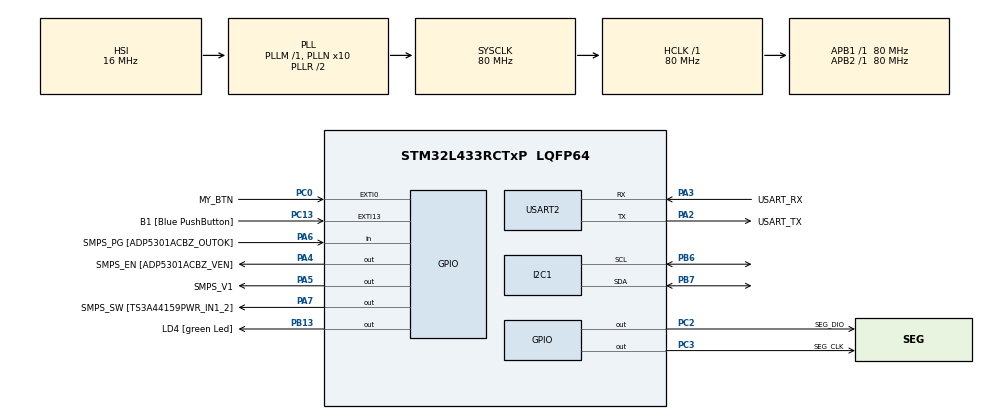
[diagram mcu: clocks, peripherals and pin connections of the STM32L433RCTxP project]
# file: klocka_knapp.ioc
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I2C1.Timing=0x10D19CE4
Mcu.Family=STM32L4
Mcu.Name=STM32L433RCTxP
Mcu.Package=LQFP64
NVIC.EXTI0_IRQn=true\:0\:0\:false\:false\:true\:true\:true\:true
NVIC.PriorityGroup=NVIC_PRIORITYGROUP_4
NVIC.TIM6_DAC_IRQn=true\:0\:0\:false\:false\:true\:true\:true\:true
PA13\ (JTMS-SWDIO).GPIO_Label=TMS
PA13\ (JTMS-SWDIO).Mode=Serial_Wire
PA13\ (JTMS-SWDIO).Signal=SYS_JTMS-SWDIO
PA14\ (JTCK-SWCLK).GPIO_Label=TCK
PA14\ (JTCK-SWCLK).Mode=Serial_Wire
PA14\ (JTCK-SWCLK).Signal=SYS_JTCK-SWCLK
PA2.GPIO_Label=USART_TX
PA2.GPIO_Mode=GPIO_MODE_AF_PP
PA2.GPIO_PuPd=GPIO_NOPULL
PA2.GPIO_Speed=GPIO_SPEED_FREQ_VERY_HIGH
PA2.Mode=Asynchronous
PA2.Signal=USART2_TX
PA3.GPIO_Label=USART_RX
PA3.GPIO_Mode=GPIO_MODE_AF_PP
PA3.GPIO_PuPd=GPIO_NOPULL
PA3.GPIO_Speed=GPIO_SPEED_FREQ_VERY_HIGH
PA3.Mode=Asynchronous
PA3.Signal=USART2_RX
PA4.GPIO_Label=SMPS_EN [ADP5301ACBZ_VEN]
PA4.Signal=GPIO_Output
PA5.GPIO_Label=SMPS_V1
PA5.GPIO_ModeDefaultOutputPP=GPIO_MODE_OUTPUT_PP
PA5.GPIO_PuPd=GPIO_NOPULL
PA5.GPIO_Speed=GPIO_SPEED_FREQ_LOW
PA5.Signal=GPIO_Output
PA6.GPIO_Label=SMPS_PG [ADP5301ACBZ_OUTOK]
PA6.GPIO_PuPd=GPIO_PULLUP
PA6.Signal=GPIO_Input
PA7.GPIO_Label=SMPS_SW [TS3A44159PWR_IN1_2]
PA7.Signal=GPIO_Output
PB13.GPIO_Label=LD4 [green Led]
PB13.Signal=GPIO_Output
PB3\ (JTDO-TRACESWO).GPIO_Label=SWO
PB3\ (JTDO-TRACESWO).Signal=SYS_JTDO-SWO
PB6.Mode=I2C
PB6.Signal=I2C1_SCL
PB7.Mode=I2C
PB7.Signal=I2C1_SDA
PC0.GPIO_Label=MY_BTN
PC0.GPIO_ModeDefaultEXTI=GPIO_MODE_IT_FALLING
PC0.Signal=GPXTI0
PC13.GPIO_Label=B1 [Blue PushButton]
PC13.GPIO_ModeDefaultEXTI=GPIO_MODE_IT_FALLING
PC13.GPIO_PuPd=GPIO_NOPULL
PC13.Signal=GPXTI13
PC14-OSC32_IN\ (PC14).Mode=LSE-External-Oscillator
PC14-OSC32_IN\ (PC14).Signal=RCC_OSC32_IN
PC15-OSC32_OUT\ (PC15).Mode=LSE-External-Oscillator
PC15-OSC32_OUT\ (PC15).Signal=RCC_OSC32_OUT
PC2.GPIO_Label=SEG_DIO
PC2.GPIO_ModeDefaultOutputPP=GPIO_MODE_OUTPUT_OD
PC2.GPIO_PuPd=GPIO_NOPULL
PC2.Signal=GPIO_Output
PC3.GPIO_Label=SEG_CLK
PC3.GPIO_ModeDefaultOutputPP=GPIO_MODE_OUTPUT_PP
PC3.Signal=GPIO_Output
PH0-OSC_IN\ (PH0).GPIO_Label=MCO
PH0-OSC_IN\ (PH0).Mode=HSE-External-Clock-Source
PH0-OSC_IN\ (PH0).Signal=RCC_OSC_IN
PH1-OSC_OUT\ (PH1).Signal=RCC_OSC_OUT
ProjectManager.HeapSize=0x200
ProjectManager.StackSize=0x400
ProjectManager.TargetToolchain=STM32CubeIDE
RCC.ADCFreq_Value=64000000
RCC.AHBFreq_Value=80000000
RCC.APB1Freq_Value=80000000
RCC.APB1TimFreq_Value=80000000
RCC.APB2Freq_Value=80000000
RCC.APB2TimFreq_Value=80000000
RCC.CortexFreq_Value=80000000
RCC.HCLKFreq_Value=80000000
RCC.HSE_VALUE=8000000
RCC.HSI48_VALUE=48000000
RCC.HSI_VALUE=16000000
RCC.MSI_VALUE=4000000
RCC.PLLN=10
RCC.PLLSourceVirtual=RCC_PLLSOURCE_HSI
RCC.PREFETCH_ENABLE=1
RCC.SYSCLKFreq_VALUE=80000000
RCC.SYSCLKSource=RCC_SYSCLKSOURCE_PLLCLK
RCC.USBFreq_Value=64000000
RCC.VCOOutputFreq_Value=160000000
TIM6.Period=9999
TIM6.Prescaler=3999
USART2.VirtualMode-Asynchronous=VM_ASYNC
VP_TIM2_VS_ClockSourceINT.Mode=Internal
VP_TIM6_VS_ClockSourceINT.Mode=Enable_Timer
board=NUCLEO-L433RC-P

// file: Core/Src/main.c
/* USER CODE BEGIN Header */
/**
  ****************************************************************************
  * @file           : main.c
  * @brief          : Main program body
  ****************************************************************************
  * @attention
  *
  * Copyright (c) 2026 STMicroelectronics.
  * All rights reserved.
  *
  * This software is licensed under terms that can be found in the LICENSE file
  * in the root directory of this software component.
  * If no LICENSE file comes with this software, it is provided AS-IS.
  *
  ****************************************************************************
  */
/* USER CODE END Header */
#include "main.h"

/* USER CODE BEGIN Includes */
#include <stdio.h>
#include <string.h>
#include "lcd.h"

/* USER CODE END Includes */

I2C_HandleTypeDef hi2c1;

TIM_HandleTypeDef htim2;
TIM_HandleTypeDef htim6;

UART_HandleTypeDef huart2;

/* USER CODE BEGIN PV */
//volatile uint8_t button_pressed = 0;

TextLCDType hlcd;

struct clock_data
{
	uint8_t hours;
	uint8_t minutes;
	uint8_t seconds;
};

struct clock_data my_clock;

volatile uint8_t clock_ticks_pending = 0;
/* USER CODE END PV */

void SystemClock_Config(void);
static void MX_GPIO_Init(void);
static void MX_I2C1_Init(void);
static void MX_TIM6_Init(void);
static void MX_USART2_UART_Init(void);
static void MX_TIM2_Init(void);
/* USER CODE BEGIN PFP */
void lcd_show_time(void);
void uart_print_cd(UART_HandleTypeDef *huart,
                   struct clock_data *pcd);
/* USER CODE END PFP */

/* USER CODE BEGIN 0 */

/*
void wait_for_button_press(void)
{
    // Vänta tills knappen trycks ned
    while (button_pressed == 0)
    {
        // Do nothing
    }

    // Vänta tills knappen släpps
    while (HAL_GPIO_ReadPin(B1_GPIO_Port, B1_Pin) == GPIO_PIN_RESET)
    {
        // Do nothing
    }

    // Reset the flag
    button_pressed = 0;
}
*/

void cd_set(struct clock_data *pcd,
            uint8_t hrs,
            uint8_t min,
            uint8_t sec)
{
	// Sätt klockans timer, min och sekunder
    pcd->hours = hrs;
    pcd->minutes = min;
    pcd->seconds = sec;
}

void cd_tick(struct clock_data *pcd)
{
	//Öka klockan med en sekund
    pcd->seconds++;

    // När 60 sekunder nås, nollställs sekunder och öka min.
    if (pcd->seconds >= 60)
    {
        pcd->seconds = 0;
        pcd->minutes++;
    }

    // När 60 min nås, nollställ min och öka timmar
    if (pcd->minutes >= 60)
    {
        pcd->minutes = 0;
        pcd->hours++;
    }

    // När 24 h nås, börja om från 00
    if (pcd->hours >= 24)
    {
        pcd->hours = 0;
    }
}

void uart_print_cd(UART_HandleTypeDef *huart,
                   struct clock_data *pcd)
{
    char buffer[20];

    snprintf(buffer, sizeof(buffer), "\r%02d:%02d:%02d",
             pcd->hours,
             pcd->minutes,
             pcd->seconds);

    HAL_UART_Transmit(huart, (uint8_t *)buffer,
                      strlen(buffer), HAL_MAX_DELAY);
}

int _write(int file, char *ptr, int len)
{
    HAL_UART_Transmit(&huart2, (uint8_t *)ptr, len, HAL_MAX_DELAY);
    return len;
}

void lcd_show_time(void)
{
    char time_str[12];

    snprintf(time_str, sizeof(time_str), "%02d:%02d:%02d",
             my_clock.hours,
             my_clock.minutes,
             my_clock.seconds);

    // Placera tiden högerjusterad på LCD:ns andra rad
    TextLCD_Position(&hlcd, 8, 1);
    TextLCD_PutStr(&hlcd, time_str);
}

/*
void clock_mode(void)
{
    cd_set(&my_clock, 0, 0, 0);

    HAL_TIM_Base_Start_IT(&htim6);

    while (1)
    {
        if (clock_ticks_pending > 0)
        {
            __disable_irq();
            clock_ticks_pending--;
            __enable_irq();

            cd_tick(&my_clock);
            uart_print_cd(&huart2, &my_clock);
            lcd_show_time();
        }
    }
}
*/

/* USER CODE END 0 */

int main(void)
{

  /* MCU Configuration--------------------------------------------------------*/

  /* Reset of all peripherals, Initializes the Flash interface and the Systick. */
  HAL_Init();

  /* Configure the system clock */
  SystemClock_Config();

  /* Initialize all configured peripherals */
  MX_GPIO_Init();
  MX_I2C1_Init();
  MX_TIM6_Init();
  MX_USART2_UART_Init();
  MX_TIM2_Init();
  /* USER CODE BEGIN 2 */

  TextLCD_Init(&hlcd, &hi2c1, 0x4E);

  // Sätt starttiden
  //cd_set(&my_clock, 0, 0, 0);
  cd_set(&my_clock, 23,59,50);

  // Visa starttiden på LCD:n
  lcd_show_time();

  // Starta TIM6 med interrupt för 1 sekundstick
  HAL_TIM_Base_Start_IT(&htim6);

  /* USER CODE END 2 */

  /* Infinite loop */
  while (1)
  {

    /* USER CODE BEGIN 3 */

      if (clock_ticks_pending > 0)
      {
          __disable_irq();
          clock_ticks_pending--;
          __enable_irq();

          // Uppdatera klockan med en sekund
          cd_tick(&my_clock);
          // Visa tiden i UART
          uart_print_cd(&huart2, &my_clock);
          // Visa tiden på LCD:n
          lcd_show_time();
      }

      /*
      if (button_pressed)
      {
          button_pressed = 0;

          if (c < 16)
          {
              TextLCD_Position(&hlcd, c, 0);
              TextLCD_PutChar(&hlcd, c + ASCII_CAPITAL_OFFSET);
          }
          else if (c < LETTERS_TOTAL)
          {
              // Rad 2 har bara plats 0–7 för bokstäver
              if (c < 24)
              {
                  TextLCD_Position(&hlcd, c - 16, 1);
                  TextLCD_PutChar(&hlcd, c + ASCII_CAPITAL_OFFSET);
              }
          }

          c = (c + 1) % LETTERS_TOTAL;
      }
      */

  /* USER CODE END 3 */
  }
}

void SystemClock_Config(void)
{
  RCC_OscInitTypeDef RCC_OscInitStruct = {0};
  RCC_ClkInitTypeDef RCC_ClkInitStruct = {0};

  /** Configure the main internal regulator output voltage
  */
  if (HAL_PWREx_ControlVoltageScaling(PWR_REGULATOR_VOLTAGE_SCALE1) != HAL_OK)
  {
    Error_Handler();
  }

  /** Initializes the RCC Oscillators according to the specified parameters
  * in the RCC_OscInitTypeDef structure.
  */
  RCC_OscInitStruct.OscillatorType = RCC_OSCILLATORTYPE_HSI;
  RCC_OscInitStruct.HSIState = RCC_HSI_ON;
  RCC_OscInitStruct.HSICalibrationValue = RCC_HSICALIBRATION_DEFAULT;
  RCC_OscInitStruct.PLL.PLLState = RCC_PLL_ON;
  RCC_OscInitStruct.PLL.PLLSource = RCC_PLLSOURCE_HSI;
  RCC_OscInitStruct.PLL.PLLM = 1;
  RCC_OscInitStruct.PLL.PLLN = 10;
  RCC_OscInitStruct.PLL.PLLP = RCC_PLLP_DIV7;
  RCC_OscInitStruct.PLL.PLLQ = RCC_PLLQ_DIV2;
  RCC_OscInitStruct.PLL.PLLR = RCC_PLLR_DIV2;
  if (HAL_RCC_OscConfig(&RCC_OscInitStruct) != HAL_OK)
  {
    Error_Handler();
  }

  /** Initializes the CPU, AHB and APB buses clocks
  */
  RCC_ClkInitStruct.ClockType = RCC_CLOCKTYPE_HCLK|RCC_CLOCKTYPE_SYSCLK
                              |RCC_CLOCKTYPE_PCLK1|RCC_CLOCKTYPE_PCLK2;
  RCC_ClkInitStruct.SYSCLKSource = RCC_SYSCLKSOURCE_PLLCLK;
  RCC_ClkInitStruct.AHBCLKDivider = RCC_SYSCLK_DIV1;
  RCC_ClkInitStruct.APB1CLKDivider = RCC_HCLK_DIV1;
  RCC_ClkInitStruct.APB2CLKDivider = RCC_HCLK_DIV1;

  if (HAL_RCC_ClockConfig(&RCC_ClkInitStruct, FLASH_LATENCY_4) != HAL_OK)
  {
    Error_Handler();
  }
}

static void MX_I2C1_Init(void)
{

  hi2c1.Instance = I2C1;
  hi2c1.Init.Timing = 0x10D19CE4;
  hi2c1.Init.OwnAddress1 = 0;
  hi2c1.Init.AddressingMode = I2C_ADDRESSINGMODE_7BIT;
  hi2c1.Init.DualAddressMode = I2C_DUALADDRESS_DISABLE;
  hi2c1.Init.OwnAddress2 = 0;
  hi2c1.Init.OwnAddress2Masks = I2C_OA2_NOMASK;
  hi2c1.Init.GeneralCallMode = I2C_GENERALCALL_DISABLE;
  hi2c1.Init.NoStretchMode = I2C_NOSTRETCH_DISABLE;
  if (HAL_I2C_Init(&hi2c1) != HAL_OK)
  {
    Error_Handler();
  }

  /** Configure Analogue filter
  */
  if (HAL_I2CEx_ConfigAnalogFilter(&hi2c1, I2C_ANALOGFILTER_ENABLE) != HAL_OK)
  {
    Error_Handler();
  }

  /** Configure Digital filter
  */
  if (HAL_I2CEx_ConfigDigitalFilter(&hi2c1, 0) != HAL_OK)
  {
    Error_Handler();
  }

}

static void MX_TIM2_Init(void)
{

  TIM_ClockConfigTypeDef sClockSourceConfig = {0};
  TIM_MasterConfigTypeDef sMasterConfig = {0};

  htim2.Instance = TIM2;
  htim2.Init.Prescaler = 79;
  htim2.Init.CounterMode = TIM_COUNTERMODE_UP;
  htim2.Init.Period = 4294967295;
  htim2.Init.ClockDivision = TIM_CLOCKDIVISION_DIV1;
  htim2.Init.AutoReloadPreload = TIM_AUTORELOAD_PRELOAD_DISABLE;
  if (HAL_TIM_Base_Init(&htim2) != HAL_OK)
  {
    Error_Handler();
  }
  sClockSourceConfig.ClockSource = TIM_CLOCKSOURCE_INTERNAL;
  if (HAL_TIM_ConfigClockSource(&htim2, &sClockSourceConfig) != HAL_OK)
  {
    Error_Handler();
  }
  sMasterConfig.MasterOutputTrigger = TIM_TRGO_RESET;
  sMasterConfig.MasterSlaveMode = TIM_MASTERSLAVEMODE_DISABLE;
  if (HAL_TIMEx_MasterConfigSynchronization(&htim2, &sMasterConfig) != HAL_OK)
  {
    Error_Handler();
  }

}

static void MX_TIM6_Init(void)
{

  TIM_MasterConfigTypeDef sMasterConfig = {0};

  htim6.Instance = TIM6;
  htim6.Init.Prescaler = 1999;
  htim6.Init.CounterMode = TIM_COUNTERMODE_UP;
  htim6.Init.Period = 39999;
  htim6.Init.AutoReloadPreload = TIM_AUTORELOAD_PRELOAD_DISABLE;
  if (HAL_TIM_Base_Init(&htim6) != HAL_OK)
  {
    Error_Handler();
  }
  sMasterConfig.MasterOutputTrigger = TIM_TRGO_RESET;
  sMasterConfig.MasterSlaveMode = TIM_MASTERSLAVEMODE_DISABLE;
  if (HAL_TIMEx_MasterConfigSynchronization(&htim6, &sMasterConfig) != HAL_OK)
  {
    Error_Handler();
  }

}

static void MX_USART2_UART_Init(void)
{

  huart2.Instance = USART2;
  huart2.Init.BaudRate = 115200;
  huart2.Init.WordLength = UART_WORDLENGTH_8B;
  huart2.Init.StopBits = UART_STOPBITS_1;
  huart2.Init.Parity = UART_PARITY_NONE;
  huart2.Init.Mode = UART_MODE_TX_RX;
  huart2.Init.HwFlowCtl = UART_HWCONTROL_NONE;
  huart2.Init.OverSampling = UART_OVERSAMPLING_16;
  huart2.Init.OneBitSampling = UART_ONE_BIT_SAMPLE_DISABLE;
  huart2.AdvancedInit.AdvFeatureInit = UART_ADVFEATURE_NO_INIT;
  if (HAL_UART_Init(&huart2) != HAL_OK)
  {
    Error_Handler();
  }

}

static void MX_GPIO_Init(void)
{
  GPIO_InitTypeDef GPIO_InitStruct = {0};

  /* GPIO Ports Clock Enable */
  __HAL_RCC_GPIOC_CLK_ENABLE();
  __HAL_RCC_GPIOH_CLK_ENABLE();
  __HAL_RCC_GPIOA_CLK_ENABLE();
  __HAL_RCC_GPIOB_CLK_ENABLE();

  /*Configure GPIO pin Output Level */
  HAL_GPIO_WritePin(GPIOA, SMPS_EN_Pin|SMPS_V1_Pin|SMPS_SW_Pin, GPIO_PIN_RESET);

  /*Configure GPIO pin Output Level */
  HAL_GPIO_WritePin(LD4_GPIO_Port, LD4_Pin, GPIO_PIN_RESET);

  /*Configure GPIO pin : B1_Pin */
  GPIO_InitStruct.Pin = B1_Pin;
  GPIO_InitStruct.Mode = GPIO_MODE_IT_FALLING;
  GPIO_InitStruct.Pull = GPIO_NOPULL;
  HAL_GPIO_Init(B1_GPIO_Port, &GPIO_InitStruct);

  /*Configure GPIO pins : SMPS_EN_Pin SMPS_V1_Pin SMPS_SW_Pin */
  GPIO_InitStruct.Pin = SMPS_EN_Pin|SMPS_V1_Pin|SMPS_SW_Pin;
  GPIO_InitStruct.Mode = GPIO_MODE_OUTPUT_PP;
  GPIO_InitStruct.Pull = GPIO_NOPULL;
  GPIO_InitStruct.Speed = GPIO_SPEED_FREQ_LOW;
  HAL_GPIO_Init(GPIOA, &GPIO_InitStruct);

  /*Configure GPIO pin : SMPS_PG_Pin */
  GPIO_InitStruct.Pin = SMPS_PG_Pin;
  GPIO_InitStruct.Mode = GPIO_MODE_INPUT;
  GPIO_InitStruct.Pull = GPIO_PULLUP;
  HAL_GPIO_Init(SMPS_PG_GPIO_Port, &GPIO_InitStruct);

  /*Configure GPIO pin : LD4_Pin */
  GPIO_InitStruct.Pin = LD4_Pin;
  GPIO_InitStruct.Mode = GPIO_MODE_OUTPUT_PP;
  GPIO_InitStruct.Pull = GPIO_NOPULL;
  GPIO_InitStruct.Speed = GPIO_SPEED_FREQ_LOW;
  HAL_GPIO_Init(LD4_GPIO_Port, &GPIO_InitStruct);

  /* EXTI interrupt init*/
  HAL_NVIC_SetPriority(EXTI15_10_IRQn, 0, 0);
  HAL_NVIC_EnableIRQ(EXTI15_10_IRQn);

}

/* USER CODE BEGIN 4 */

/*
 void HAL_GPIO_EXTI_Callback(uint16_t GPIO_Pin)
{
    if (GPIO_Pin == B1_Pin)
    {
        button_pressed = 1;
    }
}
*/

void HAL_TIM_PeriodElapsedCallback(TIM_HandleTypeDef *htim)
{
    if (htim->Instance == TIM6)
    {
        HAL_GPIO_TogglePin(LD4_GPIO_Port, LD4_Pin);
        clock_ticks_pending++;
    }
}
/* USER CODE END 4 */

void Error_Handler(void)
{
  __disable_irq();
  while (1)
  {
  }
}
